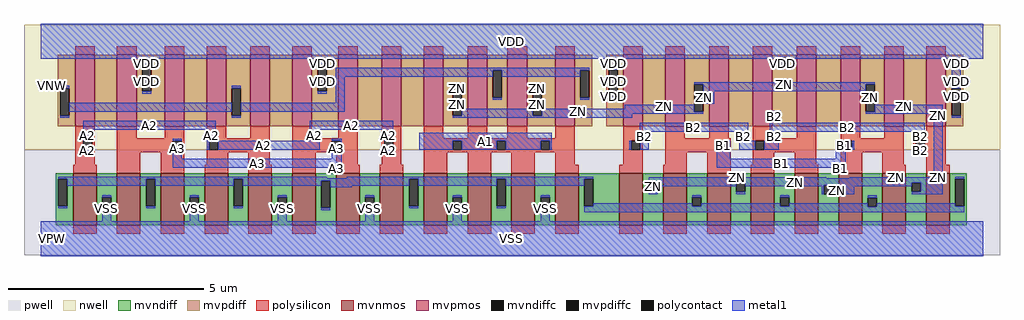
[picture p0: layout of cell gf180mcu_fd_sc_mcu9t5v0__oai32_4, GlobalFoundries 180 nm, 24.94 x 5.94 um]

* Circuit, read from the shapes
.subckt gf180mcu_fd_sc_mcu9t5v0__oai32_4 A1 A2 A3 B1 B2 ZN VDD VNW VPW VSS
XM1 VSS A2 n1 VPW nfet_06v0 w=1.32u l=0.6u m=4
XM2 n1 A3 VSS VPW nfet_06v0 w=1.32u l=0.6u m=4
XM3 VSS A1 n1 VPW nfet_06v0 w=1.32u l=0.6u m=4
XM4 ZN B2 n1 VPW nfet_06v0 w=1.32u l=0.6u m=4
XM5 n1 B1 ZN VPW nfet_06v0 w=1.32u l=0.6u m=4
XM6 n2 A2 n3 VNW pfet_06v0 w=1.83u l=0.5u
XM7 VDD A3 n2 VNW pfet_06v0 w=1.83u l=0.5u
XM8 n4 A3 VDD VNW pfet_06v0 w=1.83u l=0.5u
XM9 n3 A2 n4 VNW pfet_06v0 w=1.83u l=0.5u
XM10 n5 A2 n3 VNW pfet_06v0 w=1.83u l=0.5u
XM11 VDD A3 n5 VNW pfet_06v0 w=1.83u l=0.5u
XM12 n6 A3 VDD VNW pfet_06v0 w=1.83u l=0.5u
XM13 n7 A2 n6 VNW pfet_06v0 w=1.83u l=0.5u
XM14 ZN A1 n7 VNW pfet_06v0 w=1.83u l=0.5u
XM15 n3 A1 ZN VNW pfet_06v0 w=1.83u l=0.5u m=3
XM16 n8 B2 VDD VNW pfet_06v0 w=1.83u l=0.5u
XM17 ZN B1 n8 VNW pfet_06v0 w=1.83u l=0.5u
XM18 n9 B1 ZN VNW pfet_06v0 w=1.83u l=0.5u
XM19 VDD B2 n9 VNW pfet_06v0 w=1.83u l=0.5u
XM20 n10 B2 VDD VNW pfet_06v0 w=1.83u l=0.5u
XM21 ZN B1 n10 VNW pfet_06v0 w=1.83u l=0.5u
XM22 n11 B1 ZN VNW pfet_06v0 w=1.83u l=0.5u
XM23 VDD B2 n11 VNW pfet_06v0 w=1.83u l=0.5u
.ends

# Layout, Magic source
magic
tech gf180mcuD
magscale 1 10
<< nwell >>
rect -86 453 4902 1094
<< pwell >>
rect -86 -86 4902 453
<< mvnmos >>
rect 165 69 285 333
rect 389 69 509 333
rect 613 69 733 333
rect 837 69 957 333
rect 1061 69 1181 333
rect 1285 69 1405 333
rect 1509 69 1629 333
rect 1733 69 1853 333
rect 1957 69 2077 333
rect 2181 69 2301 333
rect 2405 69 2525 333
rect 2629 69 2749 333
rect 2957 69 3077 333
rect 3181 69 3301 333
rect 3405 69 3525 333
rect 3629 69 3749 333
rect 3853 69 3973 333
rect 4077 69 4197 333
rect 4301 69 4421 333
rect 4525 69 4645 333
<< mvpmos >>
rect 175 573 275 939
rect 389 573 489 939
rect 633 573 733 939
rect 847 573 947 939
rect 1071 573 1171 939
rect 1285 573 1385 939
rect 1519 573 1619 939
rect 1743 573 1843 939
rect 1957 573 2057 939
rect 2181 573 2281 939
rect 2385 573 2485 939
rect 2629 573 2729 939
rect 2977 573 3077 939
rect 3191 573 3291 939
rect 3415 573 3515 939
rect 3639 573 3739 939
rect 3863 573 3963 939
rect 4087 573 4187 939
rect 4311 573 4411 939
rect 4525 573 4625 939
<< mvndiff >>
rect 77 305 165 333
rect 77 165 90 305
rect 136 165 165 305
rect 77 69 165 165
rect 285 211 389 333
rect 285 165 314 211
rect 360 165 389 211
rect 285 69 389 165
rect 509 305 613 333
rect 509 165 538 305
rect 584 165 613 305
rect 509 69 613 165
rect 733 211 837 333
rect 733 165 762 211
rect 808 165 837 211
rect 733 69 837 165
rect 957 305 1061 333
rect 957 165 986 305
rect 1032 165 1061 305
rect 957 69 1061 165
rect 1181 211 1285 333
rect 1181 165 1210 211
rect 1256 165 1285 211
rect 1181 69 1285 165
rect 1405 297 1509 333
rect 1405 157 1434 297
rect 1480 157 1509 297
rect 1405 69 1509 157
rect 1629 211 1733 333
rect 1629 165 1658 211
rect 1704 165 1733 211
rect 1629 69 1733 165
rect 1853 305 1957 333
rect 1853 165 1882 305
rect 1928 165 1957 305
rect 1853 69 1957 165
rect 2077 211 2181 333
rect 2077 165 2106 211
rect 2152 165 2181 211
rect 2077 69 2181 165
rect 2301 305 2405 333
rect 2301 165 2330 305
rect 2376 165 2405 305
rect 2301 69 2405 165
rect 2525 211 2629 333
rect 2525 165 2554 211
rect 2600 165 2629 211
rect 2525 69 2629 165
rect 2749 305 2957 333
rect 2749 165 2778 305
rect 2824 165 2957 305
rect 2749 69 2957 165
rect 3077 285 3181 333
rect 3077 239 3106 285
rect 3152 239 3181 285
rect 3077 69 3181 239
rect 3301 211 3405 333
rect 3301 165 3330 211
rect 3376 165 3405 211
rect 3301 69 3405 165
rect 3525 285 3629 333
rect 3525 239 3554 285
rect 3600 239 3629 285
rect 3525 69 3629 239
rect 3749 211 3853 333
rect 3749 165 3778 211
rect 3824 165 3853 211
rect 3749 69 3853 165
rect 3973 274 4077 333
rect 3973 228 4002 274
rect 4048 228 4077 274
rect 3973 69 4077 228
rect 4197 210 4301 333
rect 4197 164 4226 210
rect 4272 164 4301 210
rect 4197 69 4301 164
rect 4421 285 4525 333
rect 4421 239 4450 285
rect 4496 239 4525 285
rect 4421 69 4525 239
rect 4645 305 4733 333
rect 4645 165 4674 305
rect 4720 165 4733 305
rect 4645 69 4733 165
<< mvpdiff >>
rect 87 769 175 939
rect 87 629 100 769
rect 146 629 175 769
rect 87 573 175 629
rect 275 573 389 939
rect 489 892 633 939
rect 489 752 518 892
rect 564 752 633 892
rect 489 573 633 752
rect 733 573 847 939
rect 947 769 1071 939
rect 947 629 976 769
rect 1022 629 1071 769
rect 947 573 1071 629
rect 1171 573 1285 939
rect 1385 892 1519 939
rect 1385 752 1414 892
rect 1460 752 1519 892
rect 1385 573 1519 752
rect 1619 573 1743 939
rect 1843 573 1957 939
rect 2057 769 2181 939
rect 2057 629 2106 769
rect 2152 629 2181 769
rect 2057 573 2181 629
rect 2281 861 2385 939
rect 2281 721 2310 861
rect 2356 721 2385 861
rect 2281 573 2385 721
rect 2485 769 2629 939
rect 2485 629 2514 769
rect 2560 629 2629 769
rect 2485 573 2629 629
rect 2729 861 2817 939
rect 2729 721 2758 861
rect 2804 721 2817 861
rect 2729 573 2817 721
rect 2889 863 2977 939
rect 2889 723 2902 863
rect 2948 723 2977 863
rect 2889 573 2977 723
rect 3077 573 3191 939
rect 3291 789 3415 939
rect 3291 649 3340 789
rect 3386 649 3415 789
rect 3291 573 3415 649
rect 3515 573 3639 939
rect 3739 926 3863 939
rect 3739 880 3768 926
rect 3814 880 3863 926
rect 3739 573 3863 880
rect 3963 573 4087 939
rect 4187 789 4311 939
rect 4187 649 4216 789
rect 4262 649 4311 789
rect 4187 573 4311 649
rect 4411 573 4525 939
rect 4625 769 4715 939
rect 4625 629 4656 769
rect 4702 629 4715 769
rect 4625 573 4715 629
<< mvndiffc >>
rect 90 165 136 305
rect 314 165 360 211
rect 538 165 584 305
rect 762 165 808 211
rect 986 165 1032 305
rect 1210 165 1256 211
rect 1434 157 1480 297
rect 1658 165 1704 211
rect 1882 165 1928 305
rect 2106 165 2152 211
rect 2330 165 2376 305
rect 2554 165 2600 211
rect 2778 165 2824 305
rect 3106 239 3152 285
rect 3330 165 3376 211
rect 3554 239 3600 285
rect 3778 165 3824 211
rect 4002 228 4048 274
rect 4226 164 4272 210
rect 4450 239 4496 285
rect 4674 165 4720 305
<< mvpdiffc >>
rect 100 629 146 769
rect 518 752 564 892
rect 976 629 1022 769
rect 1414 752 1460 892
rect 2106 629 2152 769
rect 2310 721 2356 861
rect 2514 629 2560 769
rect 2758 721 2804 861
rect 2902 723 2948 863
rect 3340 649 3386 789
rect 3768 880 3814 926
rect 4216 649 4262 789
rect 4656 629 4702 769
<< polysilicon >>
rect 175 939 275 983
rect 389 939 489 983
rect 633 939 733 983
rect 847 939 947 983
rect 1071 939 1171 983
rect 1285 939 1385 983
rect 1519 939 1619 983
rect 1743 939 1843 983
rect 1957 939 2057 983
rect 2181 939 2281 983
rect 2385 939 2485 983
rect 2629 939 2729 983
rect 2977 939 3077 983
rect 3191 939 3291 983
rect 3415 939 3515 983
rect 3639 939 3739 983
rect 3863 939 3963 983
rect 4087 939 4187 983
rect 4311 939 4411 983
rect 4525 939 4625 983
rect 175 500 275 573
rect 175 454 216 500
rect 262 454 275 500
rect 175 377 275 454
rect 389 513 489 573
rect 633 513 733 573
rect 389 500 733 513
rect 389 454 674 500
rect 720 454 733 500
rect 389 441 733 454
rect 165 333 285 377
rect 389 333 509 441
rect 613 333 733 441
rect 847 513 947 573
rect 1071 513 1171 573
rect 847 500 1171 513
rect 847 454 860 500
rect 906 454 1171 500
rect 847 441 1171 454
rect 847 377 957 441
rect 837 333 957 377
rect 1061 377 1171 441
rect 1285 513 1385 573
rect 1519 513 1619 573
rect 1285 500 1619 513
rect 1285 454 1486 500
rect 1532 454 1619 500
rect 1285 441 1619 454
rect 1061 333 1181 377
rect 1285 333 1405 441
rect 1509 377 1619 441
rect 1743 500 1843 573
rect 1743 454 1756 500
rect 1802 454 1843 500
rect 1743 377 1843 454
rect 1957 513 2057 573
rect 2181 513 2281 573
rect 2385 513 2485 573
rect 2629 513 2729 573
rect 1957 500 2729 513
rect 1957 454 2106 500
rect 2152 454 2330 500
rect 2376 454 2554 500
rect 2600 454 2729 500
rect 1957 441 2729 454
rect 1509 333 1629 377
rect 1733 333 1853 377
rect 1957 333 2077 441
rect 2181 333 2301 441
rect 2405 333 2525 441
rect 2629 377 2729 441
rect 2977 500 3077 573
rect 2977 454 3018 500
rect 3064 454 3077 500
rect 2977 377 3077 454
rect 3191 513 3291 573
rect 3415 513 3515 573
rect 3639 513 3739 573
rect 3863 513 3963 573
rect 3191 500 3525 513
rect 3191 454 3466 500
rect 3512 454 3525 500
rect 3191 441 3525 454
rect 3191 377 3301 441
rect 2629 333 2749 377
rect 2957 333 3077 377
rect 3181 333 3301 377
rect 3405 333 3525 441
rect 3639 500 3963 513
rect 3639 454 3652 500
rect 3698 454 3963 500
rect 3639 441 3963 454
rect 3639 377 3749 441
rect 3629 333 3749 377
rect 3853 377 3963 441
rect 4087 513 4187 573
rect 4311 513 4411 573
rect 4525 513 4625 573
rect 4087 500 4411 513
rect 4087 454 4100 500
rect 4146 454 4411 500
rect 4087 441 4411 454
rect 4459 500 4625 513
rect 4459 454 4472 500
rect 4518 454 4625 500
rect 4459 441 4625 454
rect 4087 377 4197 441
rect 3853 333 3973 377
rect 4077 333 4197 377
rect 4301 377 4411 441
rect 4525 377 4625 441
rect 4301 333 4421 377
rect 4525 333 4645 377
rect 165 25 285 69
rect 389 25 509 69
rect 613 25 733 69
rect 837 25 957 69
rect 1061 25 1181 69
rect 1285 25 1405 69
rect 1509 25 1629 69
rect 1733 25 1853 69
rect 1957 25 2077 69
rect 2181 25 2301 69
rect 2405 25 2525 69
rect 2629 25 2749 69
rect 2957 25 3077 69
rect 3181 25 3301 69
rect 3405 25 3525 69
rect 3629 25 3749 69
rect 3853 25 3973 69
rect 4077 25 4197 69
rect 4301 25 4421 69
rect 4525 25 4645 69
<< polycontact >>
rect 216 454 262 500
rect 674 454 720 500
rect 860 454 906 500
rect 1486 454 1532 500
rect 1756 454 1802 500
rect 2106 454 2152 500
rect 2330 454 2376 500
rect 2554 454 2600 500
rect 3018 454 3064 500
rect 3466 454 3512 500
rect 3652 454 3698 500
rect 4100 454 4146 500
rect 4472 454 4518 500
<< metal1 >>
rect 0 926 4816 1098
rect 0 918 3768 926
rect 518 892 564 918
rect 100 769 146 780
rect 1414 892 1460 918
rect 518 741 564 752
rect 976 769 1022 780
rect 146 649 976 695
rect 100 618 146 629
rect 1414 741 1460 752
rect 1506 861 2804 872
rect 1506 826 2310 861
rect 1506 695 1552 826
rect 1022 649 1552 695
rect 2106 769 2152 780
rect 976 618 1022 629
rect 2356 826 2758 861
rect 2310 710 2356 721
rect 2514 769 2560 780
rect 2152 629 2514 664
rect 2758 710 2804 721
rect 2902 863 2948 918
rect 3814 918 4816 926
rect 3768 869 3814 880
rect 2902 712 2948 723
rect 3340 789 4262 800
rect 2985 664 3340 684
rect 2560 649 3340 664
rect 3386 754 4216 789
rect 3386 690 3442 754
rect 2560 638 3386 649
rect 2560 629 3023 638
rect 2106 618 3023 629
rect 216 557 895 603
rect 216 500 262 557
rect 216 443 262 454
rect 674 500 720 511
rect 849 500 895 557
rect 1374 557 1802 603
rect 3726 592 3778 654
rect 4656 769 4702 918
rect 4262 649 4610 684
rect 4216 638 4610 649
rect 1374 500 1426 557
rect 849 454 860 500
rect 906 454 1426 500
rect 1486 500 1538 511
rect 1532 454 1538 500
rect 674 408 720 454
rect 1486 408 1538 454
rect 1756 500 1802 557
rect 3061 546 3615 592
rect 1934 500 2611 542
rect 3061 500 3107 546
rect 3569 500 3615 546
rect 3726 546 4518 592
rect 3726 500 3772 546
rect 4472 500 4518 546
rect 1934 454 2106 500
rect 2152 454 2330 500
rect 2376 454 2554 500
rect 2600 454 2611 500
rect 3007 454 3018 500
rect 3064 454 3107 500
rect 3455 454 3466 500
rect 3512 454 3523 500
rect 3569 454 3652 500
rect 3698 454 3772 500
rect 4062 454 4100 500
rect 4146 454 4157 500
rect 1756 443 1802 454
rect 674 362 1538 408
rect 3455 408 3523 454
rect 4062 408 4114 454
rect 4472 443 4518 454
rect 3455 362 4114 408
rect 1486 354 1538 362
rect 4062 354 4114 362
rect 90 308 1460 316
rect 1564 308 2824 316
rect 90 305 2824 308
rect 136 270 538 305
rect 90 154 136 165
rect 314 211 360 222
rect 314 90 360 165
rect 584 270 986 305
rect 538 154 584 165
rect 762 211 808 222
rect 762 90 808 165
rect 1032 297 1882 305
rect 1032 270 1434 297
rect 986 154 1032 165
rect 1210 211 1256 222
rect 1210 90 1256 165
rect 1480 270 1882 297
rect 1480 262 1590 270
rect 1434 146 1480 157
rect 1658 211 1704 222
rect 1658 90 1704 165
rect 1928 270 2330 305
rect 1882 154 1928 165
rect 2106 211 2152 222
rect 2106 90 2152 165
rect 2376 270 2778 305
rect 2330 154 2376 165
rect 2554 211 2600 222
rect 2554 90 2600 165
rect 3106 308 4014 314
rect 4564 313 4610 638
rect 4656 618 4702 629
rect 4135 308 4610 313
rect 3106 285 4610 308
rect 3152 268 3554 285
rect 3106 228 3152 239
rect 3600 274 4450 285
rect 3600 268 4002 274
rect 3554 228 3600 239
rect 3991 228 4002 268
rect 4048 267 4450 274
rect 4048 228 4156 267
rect 4496 239 4610 285
rect 4450 228 4610 239
rect 4674 305 4720 316
rect 3330 211 3376 222
rect 2824 165 3330 182
rect 3778 211 3824 222
rect 3376 165 3778 182
rect 4226 210 4272 221
rect 3824 165 4226 182
rect 2778 164 4226 165
rect 4272 165 4674 182
rect 4272 164 4720 165
rect 2778 136 4720 164
rect 0 -90 4816 90
<< labels >>
flabel metal1 s 1934 454 2611 542 0 FreeSans 200 0 0 0 A1
port 1 nsew default input
flabel metal1 s 1374 557 1802 603 0 FreeSans 200 0 0 0 A2
port 2 nsew default input
flabel metal1 s 1486 408 1538 511 0 FreeSans 200 0 0 0 A3
port 3 nsew default input
flabel metal1 s 4062 454 4157 500 0 FreeSans 200 0 0 0 B1
port 4 nsew default input
flabel metal1 s 3726 592 3778 654 0 FreeSans 200 0 0 0 B2
port 5 nsew default input
flabel metal1 s 0 918 4816 1098 0 FreeSans 200 0 0 0 VDD
port 7 nsew power bidirectional abutment
flabel metal1 s 2554 90 2600 222 0 FreeSans 200 0 0 0 VSS
port 10 nsew ground bidirectional abutment
flabel metal1 s 3340 780 4262 800 0 FreeSans 200 0 0 0 ZN
port 6 nsew default output
flabel nwell s 10 734 110 834 0 FreeSans 400 0 0 0 VNW
port 8 nsew power bidirectional
flabel pwell s 10 -50 110 50 0 FreeSans 400 0 0 0 VPW
port 9 nsew ground bidirectional
rlabel metal1 s 216 557 895 603 1 A2
port 2 nsew default input
rlabel metal1 s 1756 500 1802 557 1 A2
port 2 nsew default input
rlabel metal1 s 1374 500 1426 557 1 A2
port 2 nsew default input
rlabel metal1 s 849 500 895 557 1 A2
port 2 nsew default input
rlabel metal1 s 216 500 262 557 1 A2
port 2 nsew default input
rlabel metal1 s 1756 454 1802 500 1 A2
port 2 nsew default input
rlabel metal1 s 849 454 1426 500 1 A2
port 2 nsew default input
rlabel metal1 s 216 454 262 500 1 A2
port 2 nsew default input
rlabel metal1 s 1756 443 1802 454 1 A2
port 2 nsew default input
rlabel metal1 s 216 443 262 454 1 A2
port 2 nsew default input
rlabel metal1 s 674 408 720 511 1 A3
port 3 nsew default input
rlabel metal1 s 674 362 1538 408 1 A3
port 3 nsew default input
rlabel metal1 s 1486 354 1538 362 1 A3
port 3 nsew default input
rlabel metal1 s 3455 454 3523 500 1 B1
port 4 nsew default input
rlabel metal1 s 4062 408 4114 454 1 B1
port 4 nsew default input
rlabel metal1 s 3455 408 3523 454 1 B1
port 4 nsew default input
rlabel metal1 s 3455 362 4114 408 1 B1
port 4 nsew default input
rlabel metal1 s 4062 354 4114 362 1 B1
port 4 nsew default input
rlabel metal1 s 3726 546 4518 592 1 B2
port 5 nsew default input
rlabel metal1 s 3061 546 3615 592 1 B2
port 5 nsew default input
rlabel metal1 s 4472 500 4518 546 1 B2
port 5 nsew default input
rlabel metal1 s 3726 500 3772 546 1 B2
port 5 nsew default input
rlabel metal1 s 3569 500 3615 546 1 B2
port 5 nsew default input
rlabel metal1 s 3061 500 3107 546 1 B2
port 5 nsew default input
rlabel metal1 s 4472 454 4518 500 1 B2
port 5 nsew default input
rlabel metal1 s 3569 454 3772 500 1 B2
port 5 nsew default input
rlabel metal1 s 3007 454 3107 500 1 B2
port 5 nsew default input
rlabel metal1 s 4472 443 4518 454 1 B2
port 5 nsew default input
rlabel metal1 s 3340 754 4262 780 1 ZN
port 6 nsew default output
rlabel metal1 s 2514 754 2560 780 1 ZN
port 6 nsew default output
rlabel metal1 s 2106 754 2152 780 1 ZN
port 6 nsew default output
rlabel metal1 s 4216 690 4262 754 1 ZN
port 6 nsew default output
rlabel metal1 s 3340 690 3442 754 1 ZN
port 6 nsew default output
rlabel metal1 s 2514 690 2560 754 1 ZN
port 6 nsew default output
rlabel metal1 s 2106 690 2152 754 1 ZN
port 6 nsew default output
rlabel metal1 s 4216 684 4262 690 1 ZN
port 6 nsew default output
rlabel metal1 s 3340 684 3386 690 1 ZN
port 6 nsew default output
rlabel metal1 s 2514 684 2560 690 1 ZN
port 6 nsew default output
rlabel metal1 s 2106 684 2152 690 1 ZN
port 6 nsew default output
rlabel metal1 s 4216 664 4610 684 1 ZN
port 6 nsew default output
rlabel metal1 s 2985 664 3386 684 1 ZN
port 6 nsew default output
rlabel metal1 s 2514 664 2560 684 1 ZN
port 6 nsew default output
rlabel metal1 s 2106 664 2152 684 1 ZN
port 6 nsew default output
rlabel metal1 s 4216 638 4610 664 1 ZN
port 6 nsew default output
rlabel metal1 s 2106 638 3386 664 1 ZN
port 6 nsew default output
rlabel metal1 s 4564 618 4610 638 1 ZN
port 6 nsew default output
rlabel metal1 s 2106 618 3023 638 1 ZN
port 6 nsew default output
rlabel metal1 s 4564 314 4610 618 1 ZN
port 6 nsew default output
rlabel metal1 s 4564 313 4610 314 1 ZN
port 6 nsew default output
rlabel metal1 s 3106 313 4014 314 1 ZN
port 6 nsew default output
rlabel metal1 s 4135 308 4610 313 1 ZN
port 6 nsew default output
rlabel metal1 s 3106 308 4014 313 1 ZN
port 6 nsew default output
rlabel metal1 s 3106 268 4610 308 1 ZN
port 6 nsew default output
rlabel metal1 s 3991 267 4610 268 1 ZN
port 6 nsew default output
rlabel metal1 s 3554 267 3600 268 1 ZN
port 6 nsew default output
rlabel metal1 s 3106 267 3152 268 1 ZN
port 6 nsew default output
rlabel metal1 s 4450 228 4610 267 1 ZN
port 6 nsew default output
rlabel metal1 s 3991 228 4156 267 1 ZN
port 6 nsew default output
rlabel metal1 s 3554 228 3600 267 1 ZN
port 6 nsew default output
rlabel metal1 s 3106 228 3152 267 1 ZN
port 6 nsew default output
rlabel metal1 s 4656 869 4702 918 1 VDD
port 7 nsew power bidirectional abutment
rlabel metal1 s 3768 869 3814 918 1 VDD
port 7 nsew power bidirectional abutment
rlabel metal1 s 2902 869 2948 918 1 VDD
port 7 nsew power bidirectional abutment
rlabel metal1 s 1414 869 1460 918 1 VDD
port 7 nsew power bidirectional abutment
rlabel metal1 s 518 869 564 918 1 VDD
port 7 nsew power bidirectional abutment
rlabel metal1 s 4656 741 4702 869 1 VDD
port 7 nsew power bidirectional abutment
rlabel metal1 s 2902 741 2948 869 1 VDD
port 7 nsew power bidirectional abutment
rlabel metal1 s 1414 741 1460 869 1 VDD
port 7 nsew power bidirectional abutment
rlabel metal1 s 518 741 564 869 1 VDD
port 7 nsew power bidirectional abutment
rlabel metal1 s 4656 712 4702 741 1 VDD
port 7 nsew power bidirectional abutment
rlabel metal1 s 2902 712 2948 741 1 VDD
port 7 nsew power bidirectional abutment
rlabel metal1 s 4656 618 4702 712 1 VDD
port 7 nsew power bidirectional abutment
rlabel metal1 s 2106 90 2152 222 1 VSS
port 10 nsew ground bidirectional abutment
rlabel metal1 s 1658 90 1704 222 1 VSS
port 10 nsew ground bidirectional abutment
rlabel metal1 s 1210 90 1256 222 1 VSS
port 10 nsew ground bidirectional abutment
rlabel metal1 s 762 90 808 222 1 VSS
port 10 nsew ground bidirectional abutment
rlabel metal1 s 314 90 360 222 1 VSS
port 10 nsew ground bidirectional abutment
rlabel metal1 s 0 -90 4816 90 1 VSS
port 10 nsew ground bidirectional abutment
<< properties >>
string FIXED_BBOX 0 0 4816 1008
string GDS_END 181900
string GDS_FILE $PDKPATH/libs.ref/gf180mcu_fd_sc_mcu9t5v0/gds/gf180mcu_fd_sc_mcu9t5v0.gds
string GDS_START 172254
string LEFclass core
string LEFsite GF018hv5v_green_sc9
string LEFsymmetry X Y
<< end >>
